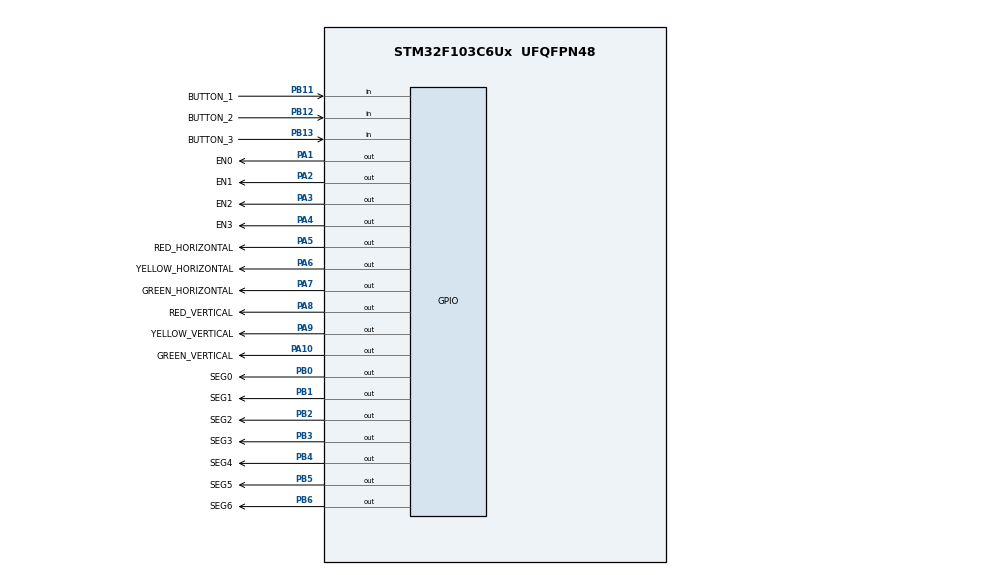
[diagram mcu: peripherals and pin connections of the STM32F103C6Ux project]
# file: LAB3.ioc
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Mcu.Family=STM32F1
Mcu.Name=STM32F103C6Ux
Mcu.Package=UFQFPN48
NVIC.PriorityGroup=NVIC_PRIORITYGROUP_4
NVIC.TIM2_IRQn=true\:0\:0\:false\:false\:true\:true\:true
PA1.GPIO_Label=EN0
PA1.Signal=GPIO_Output
PA10.GPIO_Label=GREEN_VERTICAL
PA10.Signal=GPIO_Output
PA2.GPIO_Label=EN1
PA2.Signal=GPIO_Output
PA3.GPIO_Label=EN2
PA3.Signal=GPIO_Output
PA4.GPIO_Label=EN3
PA4.Signal=GPIO_Output
PA5.GPIO_Label=RED_HORIZONTAL
PA5.Signal=GPIO_Output
PA6.GPIO_Label=YELLOW_HORIZONTAL
PA6.Signal=GPIO_Output
PA7.GPIO_Label=GREEN_HORIZONTAL
PA7.Signal=GPIO_Output
PA8.GPIO_Label=RED_VERTICAL
PA8.Signal=GPIO_Output
PA9.GPIO_Label=YELLOW_VERTICAL
PA9.Signal=GPIO_Output
PB0.GPIO_Label=SEG0
PB0.Signal=GPIO_Output
PB1.GPIO_Label=SEG1
PB1.Signal=GPIO_Output
PB11.GPIO_Label=BUTTON_1
PB11.GPIO_PuPd=GPIO_PULLUP
PB11.Signal=GPIO_Input
PB12.GPIO_Label=BUTTON_2
PB12.GPIO_PuPd=GPIO_PULLUP
PB12.Signal=GPIO_Input
PB13.GPIO_Label=BUTTON_3
PB13.GPIO_PuPd=GPIO_PULLUP
PB13.Signal=GPIO_Input
PB2.GPIO_Label=SEG2
PB2.Signal=GPIO_Output
PB3.GPIO_Label=SEG3
PB3.Signal=GPIO_Output
PB4.GPIO_Label=SEG4
PB4.Signal=GPIO_Output
PB5.GPIO_Label=SEG5
PB5.Signal=GPIO_Output
PB6.GPIO_Label=SEG6
PB6.Signal=GPIO_Output
ProjectManager.HeapSize=0x200
ProjectManager.StackSize=0x400
ProjectManager.TargetToolchain=STM32CubeIDE
RCC.APB1Freq_Value=8000000
RCC.APB2Freq_Value=8000000
TIM2.Period=9
TIM2.Prescaler=7999
VP_SYS_VS_ND.Mode=No_Debug
VP_TIM2_VS_ClockSourceINT.Mode=Internal
board=custom

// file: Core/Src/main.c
/* USER CODE BEGIN Header */
/**
  ******************************************************************************
  * @file           : main.c
  * @brief          : Main program body
  ******************************************************************************
  * @attention
  *
  * <h2><center>&copy; Copyright (c) 2023 STMicroelectronics.
  * All rights reserved.</center></h2>
  *
  * This software component is licensed by ST under BSD 3-Clause license,
  * the "License"; You may not use this file except in compliance with the
  * License. You may obtain a copy of the License at:
  *                        opensource.org/licenses/BSD-3-Clause
  *
  ******************************************************************************
  */
/* USER CODE END Header */
#include "main.h"

/* USER CODE BEGIN Includes */
#include "global.h"
#include "button.h"
#include "fsm_automatic.h"
#include "fsm_manual.h"

#include "input_reading.h"
/* USER CODE END Includes */

TIM_HandleTypeDef htim2;

void SystemClock_Config(void);
static void MX_GPIO_Init(void);
static void MX_TIM2_Init(void);

int main(void)
{

  /* MCU Configuration--------------------------------------------------------*/

  /* Reset of all peripherals, Initializes the Flash interface and the Systick. */
  HAL_Init();

  /* Configure the system clock */
  SystemClock_Config();

  /* Initialize all configured peripherals */
  MX_GPIO_Init();
  MX_TIM2_Init();
  /* USER CODE BEGIN 2 */
  HAL_TIM_Base_Start_IT(&htim2);
  /* USER CODE END 2 */

  /* Infinite loop */
  /* USER CODE BEGIN WHILE */
  status = INIT;
  while (1)
  {
	  fsm_automatic_run();
	  fsm_manual_run();
    /* USER CODE END WHILE */

  }
}

void SystemClock_Config(void)
{
  RCC_OscInitTypeDef RCC_OscInitStruct = {0};
  RCC_ClkInitTypeDef RCC_ClkInitStruct = {0};

  /** Initializes the RCC Oscillators according to the specified parameters
  * in the RCC_OscInitTypeDef structure.
  */
  RCC_OscInitStruct.OscillatorType = RCC_OSCILLATORTYPE_HSI;
  RCC_OscInitStruct.HSIState = RCC_HSI_ON;
  RCC_OscInitStruct.HSICalibrationValue = RCC_HSICALIBRATION_DEFAULT;
  RCC_OscInitStruct.PLL.PLLState = RCC_PLL_NONE;
  if (HAL_RCC_OscConfig(&RCC_OscInitStruct) != HAL_OK)
  {
    Error_Handler();
  }
  /** Initializes the CPU, AHB and APB buses clocks
  */
  RCC_ClkInitStruct.ClockType = RCC_CLOCKTYPE_HCLK|RCC_CLOCKTYPE_SYSCLK
                              |RCC_CLOCKTYPE_PCLK1|RCC_CLOCKTYPE_PCLK2;
  RCC_ClkInitStruct.SYSCLKSource = RCC_SYSCLKSOURCE_HSI;
  RCC_ClkInitStruct.AHBCLKDivider = RCC_SYSCLK_DIV1;
  RCC_ClkInitStruct.APB1CLKDivider = RCC_HCLK_DIV1;
  RCC_ClkInitStruct.APB2CLKDivider = RCC_HCLK_DIV1;

  if (HAL_RCC_ClockConfig(&RCC_ClkInitStruct, FLASH_LATENCY_0) != HAL_OK)
  {
    Error_Handler();
  }
}

static void MX_TIM2_Init(void)
{

  TIM_ClockConfigTypeDef sClockSourceConfig = {0};
  TIM_MasterConfigTypeDef sMasterConfig = {0};

  htim2.Instance = TIM2;
  htim2.Init.Prescaler = 7999;
  htim2.Init.CounterMode = TIM_COUNTERMODE_UP;
  htim2.Init.Period = 9;
  htim2.Init.ClockDivision = TIM_CLOCKDIVISION_DIV1;
  htim2.Init.AutoReloadPreload = TIM_AUTORELOAD_PRELOAD_DISABLE;
  if (HAL_TIM_Base_Init(&htim2) != HAL_OK)
  {
    Error_Handler();
  }
  sClockSourceConfig.ClockSource = TIM_CLOCKSOURCE_INTERNAL;
  if (HAL_TIM_ConfigClockSource(&htim2, &sClockSourceConfig) != HAL_OK)
  {
    Error_Handler();
  }
  sMasterConfig.MasterOutputTrigger = TIM_TRGO_RESET;
  sMasterConfig.MasterSlaveMode = TIM_MASTERSLAVEMODE_DISABLE;
  if (HAL_TIMEx_MasterConfigSynchronization(&htim2, &sMasterConfig) != HAL_OK)
  {
    Error_Handler();
  }

}

static void MX_GPIO_Init(void)
{
  GPIO_InitTypeDef GPIO_InitStruct = {0};

  /* GPIO Ports Clock Enable */
  __HAL_RCC_GPIOA_CLK_ENABLE();
  __HAL_RCC_GPIOB_CLK_ENABLE();

  /*Configure GPIO pin Output Level */
  HAL_GPIO_WritePin(GPIOA, EN0_Pin|EN1_Pin|EN2_Pin|EN3_Pin
                          |RED_HORIZONTAL_Pin|YELLOW_HORIZONTAL_Pin|GREEN_HORIZONTAL_Pin|RED_VERTICAL_Pin
                          |YELLOW_VERTICAL_Pin|GREEN_VERTICAL_Pin, GPIO_PIN_RESET);

  /*Configure GPIO pin Output Level */
  HAL_GPIO_WritePin(GPIOB, SEG0_Pin|SEG1_Pin|SEG2_Pin|SEG3_Pin
                          |SEG4_Pin|SEG5_Pin|SEG6_Pin, GPIO_PIN_RESET);

  /*Configure GPIO pins : EN0_Pin EN1_Pin EN2_Pin EN3_Pin
                           RED_HORIZONTAL_Pin YELLOW_HORIZONTAL_Pin GREEN_HORIZONTAL_Pin RED_VERTICAL_Pin
                           YELLOW_VERTICAL_Pin GREEN_VERTICAL_Pin */
  GPIO_InitStruct.Pin = EN0_Pin|EN1_Pin|EN2_Pin|EN3_Pin
                          |RED_HORIZONTAL_Pin|YELLOW_HORIZONTAL_Pin|GREEN_HORIZONTAL_Pin|RED_VERTICAL_Pin
                          |YELLOW_VERTICAL_Pin|GREEN_VERTICAL_Pin;
  GPIO_InitStruct.Mode = GPIO_MODE_OUTPUT_PP;
  GPIO_InitStruct.Pull = GPIO_NOPULL;
  GPIO_InitStruct.Speed = GPIO_SPEED_FREQ_LOW;
  HAL_GPIO_Init(GPIOA, &GPIO_InitStruct);

  /*Configure GPIO pins : SEG0_Pin SEG1_Pin SEG2_Pin SEG3_Pin
                           SEG4_Pin SEG5_Pin SEG6_Pin */
  GPIO_InitStruct.Pin = SEG0_Pin|SEG1_Pin|SEG2_Pin|SEG3_Pin
                          |SEG4_Pin|SEG5_Pin|SEG6_Pin;
  GPIO_InitStruct.Mode = GPIO_MODE_OUTPUT_PP;
  GPIO_InitStruct.Pull = GPIO_NOPULL;
  GPIO_InitStruct.Speed = GPIO_SPEED_FREQ_LOW;
  HAL_GPIO_Init(GPIOB, &GPIO_InitStruct);

  /*Configure GPIO pins : BUTTON_1_Pin BUTTON_2_Pin BUTTON_3_Pin */
  GPIO_InitStruct.Pin = BUTTON_1_Pin|BUTTON_2_Pin|BUTTON_3_Pin;
  GPIO_InitStruct.Mode = GPIO_MODE_INPUT;
  GPIO_InitStruct.Pull = GPIO_PULLUP;
  HAL_GPIO_Init(GPIOB, &GPIO_InitStruct);

}

/* USER CODE BEGIN 4 */
void HAL_TIM_PeriodElapsedCallback(TIM_HandleTypeDef *htim) {
	timerRun(0); // led duration
	timerRun(1); // 7-led counter
	timerRun(2); // 7-led display
	timerRun(3); // manual fsm
	getKeyInput(1);
	getKeyInput(2);
	getKeyInput(3);
	if (htim->Instance == TIM2) {
		button_reading();
	}
}
/* USER CODE END 4 */

void Error_Handler(void)
{
  __disable_irq();
  while (1)
  {
  }
}

/************************ (C) COPYRIGHT STMicroelectronics *****END OF FILE****/
